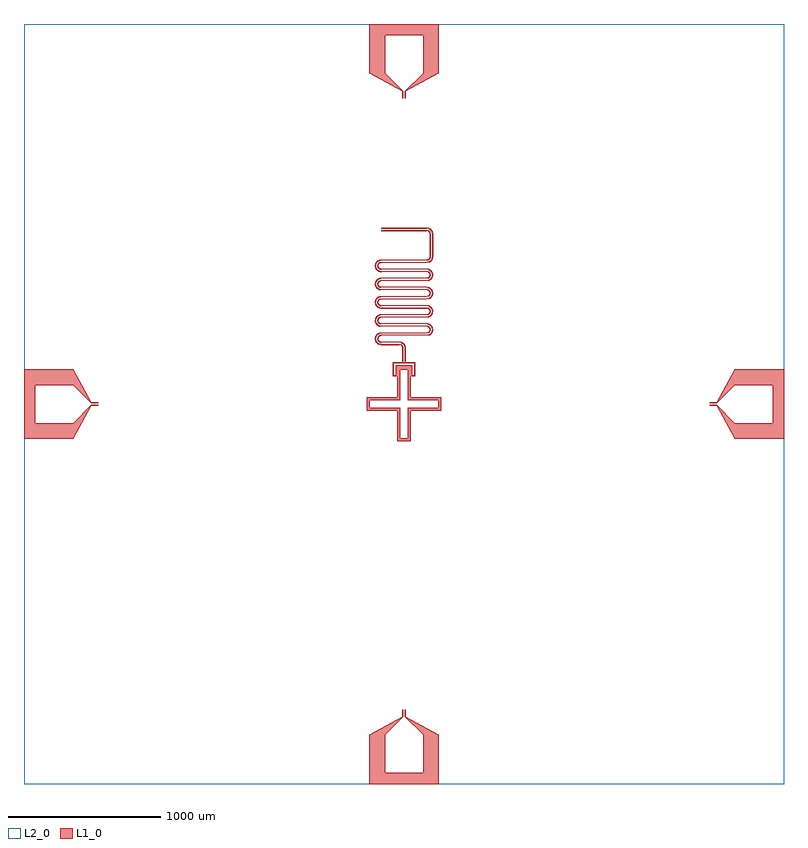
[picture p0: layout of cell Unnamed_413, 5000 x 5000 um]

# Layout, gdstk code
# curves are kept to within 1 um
from math import pi, radians
import gdstk
lib = gdstk.Library(unit=1e-6, precision=1e-09)
def R(c, l, rs):  # rectangles x0, y0, x1, y1
    for r in rs: c.add(gdstk.rectangle(r[:2], r[2:], *l))
def P(c, l, *ps):  # polygons
    for p in ps: c.add(gdstk.Polygon(p, *l))
L1_0 = (1, 0)
L2_0 = (2, 0)

unnamed_414 = lib.new_cell('Unnamed_414')
P(unnamed_414, L1_0, [(-5,-5),(-5,80),(0,80),(0,0),(15,0),(15,65),(121,65),(121,0),(136,0),(136,80),(-5,80),(-5,85),(141,85),(141,-5),(116,-5),(116,60),(20,60),(20,-5)])

xmon_xl450_xw48_xs20 = lib.new_cell('xmon_XL450_XW48_XS20')
P(xmon_xl450_xw48_xs20, L1_0, [(-44,-245),(-44,-44),(-245,-44),(-245,44),(-44,44),(-44,225),(-24,225),(-24,24),(-225,24),(-225,-24),(-24,-24),(-24,-225),(24,-225),(24,-24),(225,-24),(225,24),(24,24),(24,225),(-44,225),(-44,245),(44,245),(44,44),(245,44),(245,-44),(44,-44),(44,-245)])

rectangle_s5000_5000_l2_ = lib.new_cell('rectangle_S5000_5000_L2_236c5bc9')
R(rectangle_s5000_5000_l2_, L2_0, [(0,0,5000,5000)])

unnamed_418 = lib.new_cell('Unnamed_418')
P(unnamed_418, L1_0, [(139,-880),(138.978,-779.096),(137.524,-772.66),(133.957,-767.109),(128.166,-762.845),(121.205,-761.039),(-1.301,-760.981),(-9.033,-759.994),(-16.439,-757.562),(-24.31,-753.017),(-31.823,-745.854),(-36.737,-738.207),(-39.846,-729.666),(-40.996,-720.651),(-40.132,-711.603),(-37.296,-702.967),(-32.627,-695.169),(-26.355,-688.591),(-19.935,-684.171),(-11.551,-680.659),(-2.6,-679.081),(302.405,-678.846),(310.773,-675.649),(314.358,-672.441),(317.023,-668.437),(318.596,-663.891),(318.977,-659.096),(316.453,-650.501),(313.54,-646.673),(309.759,-643.7),(305.353,-641.771),(300.603,-641.011),(-0.087,-641),(-7.76,-640.26),(-16.439,-637.562),(-24.31,-633.017),(-31.823,-625.854),(-36.737,-618.207),(-39.846,-609.666),(-40.996,-600.651),(-39.846,-590.334),(-36.737,-581.793),(-30.987,-573.15),(-22.167,-565.507),(-12.794,-561.046),(-2.6,-559.081),(302.405,-558.846),(310.773,-555.649),(316.453,-549.499),(318.939,-541.506),(317.523,-532.66),(314.746,-528.02),(310.773,-524.351),(305.928,-521.95),(300.603,-521.011),(-0.087,-521),(-7.76,-520.26),(-16.439,-517.562),(-24.31,-513.017),(-30.987,-506.85),(-36.141,-499.364),(-39.519,-490.926),(-40.955,-481.951),(-40.584,-474.165),(-38.301,-465.367),(-32.627,-455.169),(-24.31,-446.983),(-14.023,-441.471),(-2.6,-439.081),(303.002,-438.76),(310.271,-435.983),(316.144,-430.017),(318.882,-422.106),(317.954,-413.786),(315.476,-408.98),(311.264,-404.701),(306.498,-402.147),(300.603,-401.011),(-0.087,-401),(-7.76,-400.26),(-16.439,-397.562),(-23.25,-393.772),(-30.119,-387.82),(-34.84,-381.617),(-38.746,-373.41),(-40.749,-364.545),(-40.749,-355.455),(-39.152,-347.826),(-34.137,-337.289),(-26.355,-328.591),(-16.439,-322.438),(-6.478,-319.514),(301.205,-318.96),(309.237,-316.602),(315.476,-311.02),(318.71,-303.299),(318.312,-294.937),(315.818,-289.476),(311.744,-285.066),(306.498,-282.147),(300.603,-281.011),(-0.087,-281),(-7.76,-280.26),(-15.239,-278.064),(-22.167,-274.493),(-28.294,-269.674),(-34.137,-262.711),(-37.818,-255.841),(-40.132,-248.397),(-40.996,-240.651),(-40.132,-231.603),(-35.508,-219.499),(-27.338,-209.443),(-16.439,-202.438),(-3.897,-199.184),(300.301,-198.997),(305.063,-198.313),(309.5,-196.454),(313.328,-193.541),(316.301,-189.76),(318.978,-180.904),(318.761,-26.998),(316.603,-20.762),(312.668,-15.84),(307.34,-12.476),(301.205,-11.039),(0,-11),(0,-5),(304.731,-5.452),(312.5,-8.35),(318.894,-13.629),(323.209,-20.708),(324.972,-28.81),(324.95,-181.586),(323.987,-187.043),(321.65,-192.5),(318.365,-196.963),(313.848,-200.814),(307.423,-203.872),(300.397,-204.997),(-3.327,-205.158),(-14.033,-207.936),(-23.337,-213.915),(-30.851,-223.47),(-34.469,-233.922),(-34.996,-240.555),(-34.259,-247.168),(-31.838,-254.54),(-28.511,-260.302),(-23.337,-266.085),(-17.979,-270.03),(-11.971,-272.89),(-5.53,-274.561),(301.586,-275.051),(309.291,-276.791),(315.454,-280.349),(320.814,-286.152),(324.095,-293.338),(324.971,-298.81),(324.62,-304.341),(320.814,-313.848),(313.516,-321.031),(303.95,-324.685),(-2.22,-325.07),(-11.971,-327.11),(-21.636,-332.488),(-28.511,-339.698),(-33.422,-349.608),(-34.891,-357.226),(-34.785,-363.879),(-33.076,-371.448),(-29.741,-378.453),(-24.945,-384.552),(-18.923,-389.444),(-11.971,-392.89),(-5.53,-394.561),(301.586,-395.051),(309.291,-396.791),(315.454,-400.349),(320.814,-406.152),(323.872,-412.577),(324.921,-418.019),(324.745,-423.558),(321.243,-433.18),(317.817,-437.536),(313.516,-441.031),(303.95,-444.685),(-2.22,-445.07),(-11.971,-447.11),(-20.752,-451.815),(-27.852,-458.803),(-32.696,-467.509),(-34.644,-475.019),(-34.891,-482.774),(-33.735,-489.327),(-30.851,-496.53),(-26.452,-502.921),(-20.752,-508.185),(-14.033,-512.064),(-6.624,-514.368),(-0.04,-515),(301.586,-515.051),(308.55,-516.508),(314.822,-519.869),(319.894,-524.86),(323.058,-530.342),(324.62,-535.659),(324.921,-541.981),(323.872,-547.423),(321.65,-552.5),(318.364,-556.962),(314.176,-560.591),(309.291,-563.209),(303.95,-564.685),(-2.22,-565.07),(-10.921,-566.747),(-18.923,-570.556),(-25.711,-576.252),(-30.851,-583.47),(-33.735,-590.673),(-34.961,-598.335),(-34.259,-607.168),(-31.838,-614.54),(-27.166,-622.07),(-21.636,-627.512),(-15.043,-631.603),(-6.624,-634.368),(-0.04,-635),(300.793,-635.013),(307.043,-636.013),(312.842,-638.551),(317.817,-642.464),(321.65,-647.5),(323.872,-652.577),(324.971,-658.81),(324.62,-664.341),(322.74,-670.385),(319.894,-675.14),(315.454,-679.651),(310.023,-682.902),(303.95,-684.685),(-1.11,-685.017),(-8.79,-686.121),(-16.038,-688.89),(-22.498,-693.188),(-27.852,-698.803),(-31.838,-705.46),(-34.259,-712.832),(-34.961,-721.665),(-33.735,-729.327),(-30.851,-736.53),(-26.452,-742.921),(-20.752,-748.185),(-13.008,-752.493),(-1.11,-754.983),(121.586,-755.05),(130.745,-757.427),(138.365,-763.037),(143.354,-771.078),(145,-780.02),(145,-880)],
  [(155,-880),(154.89,-777.226),(151.603,-764.957),(144.552,-755.056),(134.54,-748.163),(122.774,-745.11),(0.04,-745),(-7.043,-743.987),(-12.155,-741.846),(-17.252,-738.093),(-20.814,-733.848),(-23.624,-728.176),(-24.921,-721.981),(-24.745,-716.442),(-23.353,-711.078),(-20.364,-705.499),(-16.669,-701.369),(-12.155,-698.154),(-7.043,-696.013),(-0.793,-695.013),(300.04,-695),(306.624,-694.368),(315.043,-691.603),(321.636,-687.512),(327.166,-682.07),(331.838,-674.54),(334.469,-666.078),(334.891,-657.226),(333.076,-648.552),(329.741,-641.547),(324.945,-635.448),(317.979,-629.97),(309.861,-626.417),(302.22,-625.07),(-3.95,-624.685),(-9.291,-623.209),(-14.822,-620.131),(-18.893,-616.371),(-22.036,-611.806),(-24.295,-605.894),(-24.996,-600.397),(-24.295,-594.106),(-22.399,-588.899),(-18.893,-583.629),(-13.516,-578.969),(-7.043,-576.013),(-0.793,-575.013),(305.53,-574.561),(314.033,-572.064),(320.752,-568.185),(326.452,-562.921),(330.851,-556.53),(333.735,-549.327),(334.961,-541.665),(334.469,-533.922),(332.283,-526.478),(327.166,-517.93),(320.752,-511.815),(311.971,-507.11),(302.22,-505.07),(-3.95,-504.685),(-9.291,-503.209),(-14.176,-500.591),(-18.364,-496.962),(-21.65,-492.5),(-23.872,-487.423),(-24.921,-481.981),(-24.745,-476.442),(-23.353,-471.078),(-19.894,-464.86),(-14.822,-459.869),(-8.55,-456.508),(-1.586,-455.051),(305.53,-454.561),(311.971,-452.89),(318.923,-449.444),(324.945,-444.552),(329.741,-438.453),(333.076,-431.448),(334.785,-423.879),(334.785,-416.121),(333.076,-408.552),(327.852,-398.803),(320.752,-391.815),(311.971,-387.11),(302.22,-385.07),(-3.95,-384.685),(-13.516,-381.031),(-17.817,-377.536),(-21.243,-373.18),(-24.745,-363.558),(-24.921,-358.019),(-23.872,-352.577),(-20.814,-346.152),(-15.454,-340.349),(-9.291,-336.791),(-1.586,-335.051),(305.53,-334.561),(311.971,-332.89),(318.923,-329.444),(324.945,-324.552),(329.741,-318.453),(333.076,-311.448),(334.644,-304.981),(334.891,-297.226),(333.735,-290.673),(329.741,-281.547),(322.498,-273.188),(313.008,-267.507),(302.22,-265.07),(-3.95,-264.685),(-13.516,-261.031),(-20.814,-253.848),(-24.62,-244.341),(-24.469,-234.88),(-21.243,-226.82),(-16.069,-220.849),(-9.291,-216.791),(-1.586,-215.051),(300.555,-214.996),(309.327,-213.735),(317.979,-210.03),(324.552,-204.944),(329.741,-198.453),(333.253,-190.921),(334.842,-183.327),(334.468,-23.922),(330.851,-13.47),(324.153,-4.669),(315.043,1.603),(303.879,4.785),(0,5),(0,11),(303.897,10.815),(316.438,7.561),(327.819,0.119),(336.14,-10.637),(340.377,-22.88),(341,-29.956),(340.815,-183.897),(338.745,-193.41),(334.492,-202.166),(328.761,-209.221),(321.061,-215.178),(311.551,-219.34),(300.651,-220.995),(-1.205,-221.04),(-7.061,-222.362),(-12.668,-225.841),(-16.453,-230.501),(-18.596,-236.109),(-18.596,-243.891),(-15.118,-251.506),(-8.706,-256.887),(-1.205,-258.96),(306.478,-259.514),(317.622,-262.979),(327.338,-269.443),(334.84,-278.383),(339.519,-289.074),(340.955,-298.049),(340.584,-305.835),(338.301,-314.633),(334.84,-321.617),(330.119,-327.82),(323.25,-333.772),(316.439,-337.562),(307.76,-340.26),(300.087,-341),(-0.603,-341.011),(-6.498,-342.147),(-11.744,-345.066),(-15.818,-349.476),(-18.142,-354.359),(-18.805,-362.704),(-15.818,-370.524),(-9.237,-376.602),(-1.205,-378.96),(306.478,-379.514),(316.439,-382.438),(326.355,-388.591),(334.137,-397.289),(338.746,-406.59),(340.749,-415.455),(340.749,-424.545),(339.152,-432.174),(335.508,-440.501),(330.119,-447.82),(323.25,-453.772),(316.439,-457.562),(307.76,-460.26),(300.087,-461),(-0.603,-461.011),(-5.928,-461.95),(-10.773,-464.351),(-14.746,-468.02),(-17.748,-473.22),(-18.882,-482.106),(-16.144,-490.017),(-10.271,-495.983),(-2.405,-498.846),(302.6,-499.081),(314.023,-501.471),(323.25,-506.228),(331.823,-514.146),(337.818,-524.159),(340.378,-532.88),(340.955,-541.951),(339.519,-550.926),(336.141,-559.364),(330.987,-566.85),(324.31,-573.017),(316.439,-577.562),(307.76,-580.26),(300.087,-581),(-0.603,-581.011),(-5.353,-581.771),(-10.271,-584.017),(-13.956,-587.109),(-17.023,-591.563),(-18.996,-600.301),(-16.746,-608.972),(-10.773,-615.649),(-2.405,-618.846),(302.6,-619.081),(312.794,-621.046),(322.167,-625.507),(330.119,-632.18),(335.508,-639.499),(339.519,-649.074),(340.955,-658.049),(340.132,-668.397),(337.296,-677.033),(331.823,-685.854),(325.345,-692.229),(316.439,-697.562),(307.76,-700.26),(300.087,-701),(-0.603,-701.011),(-8.706,-703.113),(-15.118,-708.494),(-18.71,-716.701),(-18.939,-721.506),(-17.954,-726.214),(-13.111,-733.75),(-9.237,-736.602),(-4.771,-738.39),(123.249,-739.129),(130.926,-740.482),(137.622,-742.98),(143.783,-746.602),(149.221,-751.239),(154.136,-757.289),(157.561,-763.562),(159.845,-770.334),(160.954,-778.049),(161,-880)])

top = lib.new_cell('TOP')
P(top, L1_0, [(-245,-228),(-245,228),(78,228),(197.45,11),(245,11),(245,5),(198,5),(78,125),(-172,125),(-172,-125),(78,-125),(198,-5),(245,-5),(245,-11),(197.45,-11),(78,-228)])

unnamed_413 = lib.new_cell('Unnamed_413')
unnamed_413.add(gdstk.Reference(unnamed_414, (-68,189)))
unnamed_413.add(gdstk.Reference(xmon_xl450_xw48_xs20, (0,0)))
unnamed_413.add(gdstk.Reference(rectangle_s5000_5000_l2_, (-2500,-2500)))
unnamed_413.add(gdstk.Reference(unnamed_418, (-150.002,1149)))
unnamed_413.add(gdstk.Reference(top, (-2255,0)))
unnamed_413.add(gdstk.Reference(top, (0,-2255), rotation=pi/2))
unnamed_413.add(gdstk.Reference(top, (0,2255), rotation=3*pi/2))
unnamed_413.add(gdstk.Reference(top, (2255,0), rotation=pi))

lib.write_gds('Unnamed_413.gds')
